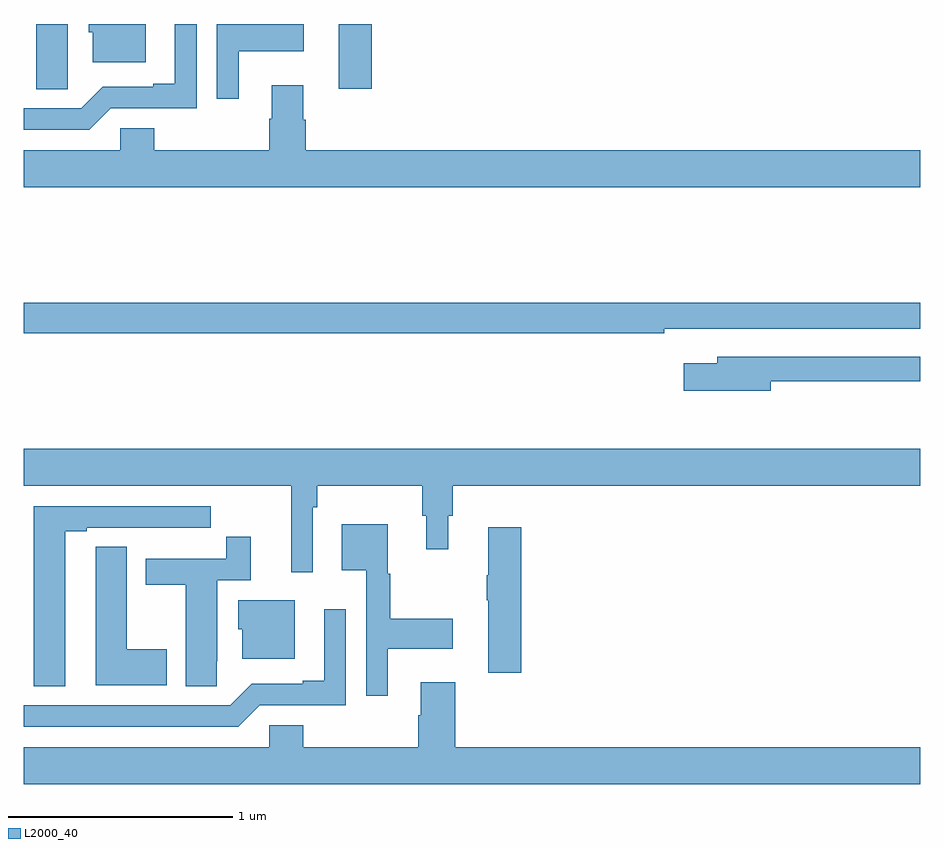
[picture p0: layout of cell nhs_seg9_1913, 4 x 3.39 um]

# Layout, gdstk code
import gdstk
lib = gdstk.Library(unit=1e-6, precision=1e-09)
def R(c, l, rs):  # rectangles x0, y0, x1, y1
    for r in rs: c.add(gdstk.rectangle(r[:2], r[2:], *l))
def P(c, l, *ps):  # polygons
    for p in ps: c.add(gdstk.Polygon(p, *l))
L2000_40 = (2000, 40)

nhs_seg9_1913 = lib.new_cell('nhs_seg9_1913')
R(nhs_seg9_1913, L2000_40, [(220.406,1178.211,220.553,1178.5)])
P(nhs_seg9_1913, L2000_40, [(219.958,1178.378),(220.249,1178.378),(220.249,1178.5),(219.861,1178.5),(219.861,1178.166),(219.958,1178.166)],
  [(219.544,1178.5),(219.29,1178.5),(219.29,1178.463),(219.308,1178.463),(219.308,1178.33),(219.544,1178.33)],
  [(219.387,1178.124),(219.771,1178.124),(219.771,1178.5),(219.674,1178.5),(219.674,1178.233),(219.578,1178.233),(219.578,1178.22),(219.351,1178.22),(219.255,1178.124),(219,1178.124),(219,1178.028),(219.291,1178.028)],
  [(219.195,1178.32),(219.196,1178.32),(219.196,1178.5),(219.056,1178.5),(219.056,1178.209),(219.195,1178.209)],
  [(223,1177.936),(220.259,1177.936),(220.259,1178.073),(220.246,1178.073),(220.246,1178.227),(220.106,1178.227),(220.106,1178.078),(220.094,1178.078),(220.094,1177.936),(219.581,1177.936),(219.581,1178.034),(219.429,1178.034),(219.429,1177.936),(219,1177.936),(219,1177.772),(223,1177.772)],
  [(221.858,1177.14),(223,1177.14),(223,1177.256),(219,1177.256),(219,1177.12),(221.858,1177.12)],
  [(222.334,1176.906),(223,1176.906),(223,1177.014),(222.095,1177.014),(222.095,1176.985),(221.946,1176.985),(221.946,1176.863),(222.334,1176.863)],
  [(220.29,1176.344),(220.31,1176.344),(220.31,1176.44),(220.777,1176.44),(220.777,1176.306),(220.796,1176.306),(220.796,1176.156),(220.894,1176.156),(220.894,1176.306),(220.913,1176.306),(220.913,1176.44),(223,1176.44),(223,1176.604),(219,1176.604),(219,1176.44),(220.193,1176.44),(220.193,1176.054),(220.29,1176.054)],
  [(219.184,1176.237),(219.28,1176.237),(219.28,1176.252),(219.556,1176.252),(219.556,1176.251),(219.722,1176.251),(219.722,1176.252),(219.835,1176.252),(219.835,1176.348),(219.044,1176.348),(219.044,1175.545),(219.184,1175.545)],
  [(220.624,1175.711),(220.915,1175.711),(220.915,1175.846),(220.636,1175.846),(220.636,1176.047),(220.624,1176.047),(220.624,1176.268),(220.418,1176.268),(220.418,1176.062),(220.527,1176.062),(220.527,1175.502),(220.624,1175.502)],
  [(221.219,1176.253),(221.072,1176.253),(221.072,1176.04),(221.065,1176.04),(221.065,1175.929),(221.072,1175.929),(221.072,1175.604),(221.219,1175.604)],
  [(219.861,1175.656),(219.862,1175.656),(219.862,1176.018),(220.013,1176.018),(220.013,1176.211),(219.904,1176.211),(219.904,1176.114),(219.545,1176.114),(219.545,1175.998),(219.722,1175.998),(219.722,1175.545),(219.861,1175.545)],
  [(219.637,1175.709),(219.46,1175.709),(219.46,1176.167),(219.321,1176.167),(219.321,1176.059),(219.32,1176.059),(219.32,1175.549),(219.637,1175.549)],
  [(220.21,1175.929),(219.956,1175.929),(219.956,1175.799),(219.974,1175.799),(219.974,1175.666),(220.21,1175.666)],
  [(220.053,1175.46),(220.437,1175.46),(220.437,1175.887),(220.34,1175.887),(220.34,1175.569),(220.244,1175.569),(220.244,1175.556),(220.017,1175.556),(219.921,1175.46),(219,1175.46),(219,1175.364),(219.957,1175.364)],
  [(223,1175.272),(220.925,1175.272),(220.925,1175.563),(220.772,1175.563),(220.772,1175.414),(220.76,1175.414),(220.76,1175.272),(220.247,1175.272),(220.247,1175.37),(220.095,1175.37),(220.095,1175.272),(219,1175.272),(219,1175.108),(223,1175.108)])

lib.write_gds('nhs_seg9_1913.gds')
